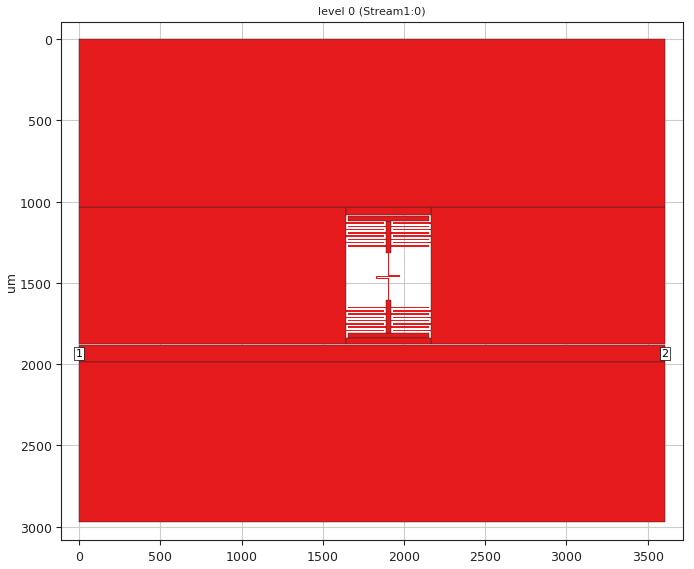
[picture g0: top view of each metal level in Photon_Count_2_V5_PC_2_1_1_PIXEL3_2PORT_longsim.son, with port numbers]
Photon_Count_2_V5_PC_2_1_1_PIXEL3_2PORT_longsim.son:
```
FTYP SONPROJ 19 ! Sonnet Project File
VER 18.56
HEADER
LIC infn2.1.84251
DAT 05/14/2026 11:35:28
BUILT_BY_CREATED gds 18.56 05/07/2026 10:02:26
BUILT_BY_SAVED sonnet 18.56
MDATE 05/07/2026 10:39:49
HDATE 05/07/2026 10:39:49
END HEADER
DIM
ANG DEG
CAP PF
CON /OH
FREQ GHZ
IND NH
LNG UM
RES OH
END DIM
CONTROL
VARSWP
OPTIONS  -d
SPEED 0
CACHE_ABS 2
Q_ACC N
END CONTROL
GEO
TMET "Lossless" 0 SUP 0 0 0 0
BMET "Lossless" 0 SUP 0 0 0 0
MET "TiN" 1 SUP 0 0 0 "Lk"
BOX 1 3607.5 2975 2886 2380 20 0
      1000 1 1 0 0 0 0 "Vacuum"
      500 11.9 1 0.004 0 0.00044 0 "Silicon (intrinsic)"
TECHLAY METAL Stream1:0 <UNSPECIFIED> 1 0 
0 0 0 N 509 1 1 100 100 0 0 0 Y
END
END
VALVAR Lk NONE 0 ""
DIM STD YDIR 1
POS -171.4986901 13.02083716
NOM 5
REF1 POLY 400 1
0
REF2 POLY 404 1
1
END
DIM STD YDIR 1
POS 231.8783895 49.13912308
NOM 5
REF1 POLY 402 1
3
REF2 POLY 404 1
2
END
DIM STD YDIR 1
POS -300.5580574 208.0684127
NOM 102.5
REF1 POLY 404 1
1
REF2 POLY 404 1
0
END
DIM STD YDIR 1
POS -169.8242802 71.21227954
NOM 5
REF1 POLY 404 1
0
REF2 POLY 456 1
1
END
DIM STD YDIR 1
POS 233.7484176 1.766262075
NOM 5
REF1 POLY 404 1
3
REF2 POLY 456 1
2
END
LORGN 0 2975 U 
POR1 BOX
POLY 404 1
0
1 50 0 0 0 0 1933.75 
POR1 BOX
POLY 404 1
2
2 50 0 0 0 3607.5 1933.75 
NUM 51
0 5 0 N 381 1 1 100 100 0 0 0 Y
TLAYNAM Stream1:0 INH
1645 1217.5
1645 1207.5
1880 1207.5
1880 1217.5
1645 1217.5
END
0 5 0 N 382 1 1 100 100 0 0 0 Y
TLAYNAM Stream1:0 INH
1655 1277.5
1655 1267.5
1890 1267.5
1890 1277.5
1655 1277.5
END
0 5 0 N 383 1 1 100 100 0 0 0 Y
TLAYNAM Stream1:0 INH
1920 1237.5
1920 1227.5
2155 1227.5
2155 1237.5
1920 1237.5
END
0 5 0 N 384 1 1 100 100 0 0 0 Y
TLAYNAM Stream1:0 INH
1930 1257.5
1930 1247.5
2165 1247.5
2165 1257.5
1930 1257.5
END
0 5 0 N 385 1 1 100 100 0 0 0 Y
TLAYNAM Stream1:0 INH
1645 1137.5
1645 1127.5
1880 1127.5
1880 1137.5
1645 1137.5
END
0 5 0 N 386 1 1 100 100 0 0 0 Y
TLAYNAM Stream1:0 INH
1655 1197.5
1655 1187.5
1890 1187.5
1890 1197.5
1655 1197.5
END
0 5 0 N 387 1 1 100 100 0 0 0 Y
TLAYNAM Stream1:0 INH
1655 1697.5
1655 1687.5
1890 1687.5
1890 1697.5
1655 1697.5
END
0 5 0 N 388 1 1 100 100 0 0 0 Y
TLAYNAM Stream1:0 INH
1972.5 1460
1972.5 1455
1977.5 1455
1977.5 1460
1972.5 1460
END
0 5 0 N 389 1 1 100 100 0 0 0 Y
TLAYNAM Stream1:0 INH
1645 1177.5
1645 1167.5
1880 1167.5
1880 1177.5
1645 1177.5
END
0 5 0 N 390 1 1 100 100 0 0 0 Y
TLAYNAM Stream1:0 INH
1930 1137.5
1930 1127.5
2165 1127.5
2165 1137.5
1930 1137.5
END
0 5 0 N 391 1 1 100 100 0 0 0 Y
TLAYNAM Stream1:0 INH
1930 1677.5
1930 1667.5
2165 1667.5
2165 1677.5
1930 1677.5
END
0 5 0 N 392 1 1 100 100 0 0 0 Y
TLAYNAM Stream1:0 INH
1645 1757.5
1645 1747.5
1880 1747.5
1880 1757.5
1645 1757.5
END
0 5 0 N 393 1 1 100 100 0 0 0 Y
TLAYNAM Stream1:0 INH
1930 1177.5
1930 1167.5
2165 1167.5
2165 1177.5
1930 1177.5
END
0 5 0 N 394 1 1 100 100 0 0 0 Y
TLAYNAM Stream1:0 INH
1902.5 1455
1902.5 1450
1977.5 1450
1977.5 1455
1902.5 1455
END
0 5 0 N 395 1 1 100 100 0 0 0 Y
TLAYNAM Stream1:0 INH
1655 1837.5
1655 1807.5
2155 1807.5
2155 1837.5
1655 1837.5
END
0 5 0 N 396 1 1 100 100 0 0 0 Y
TLAYNAM Stream1:0 INH
1645 1677.5
1645 1667.5
1880 1667.5
1880 1677.5
1645 1677.5
END
0 5 0 N 397 1 1 100 100 0 0 0 Y
TLAYNAM Stream1:0 INH
1645 1717.5
1645 1707.5
1880 1707.5
1880 1717.5
1645 1717.5
END
0 5 0 N 398 1 1 100 100 0 0 0 Y
TLAYNAM Stream1:0 INH
1930 1757.5
1930 1747.5
2165 1747.5
2165 1757.5
1930 1757.5
END
0 5 0 N 399 1 1 100 100 0 0 0 Y
TLAYNAM Stream1:0 INH
1655 1777.5
1655 1767.5
1890 1767.5
1890 1777.5
1655 1777.5
END
0 5 0 N 400 1 1 100 100 0 0 0 Y
TLAYNAM Stream1:0 INH
0 1877.5
0 1032.5
1645 1032.5
1645 1877.5
0 1877.5
END
0 5 0 N 401 1 1 100 100 0 0 0 Y
TLAYNAM Stream1:0 INH
1930 1217.5
1930 1207.5
2165 1207.5
2165 1217.5
1930 1217.5
END
0 5 0 N 402 1 1 100 100 0 0 0 Y
TLAYNAM Stream1:0 INH
2165 1877.5
2165 1032.5
3607.5 1032.5
3607.5 1877.5
2165 1877.5
END
0 5 0 N 403 1 1 100 100 0 0 0 Y
TLAYNAM Stream1:0 INH
1645 1082.5
1645 1032.5
2165 1032.5
2165 1082.5
1645 1082.5
END
0 5 0 N 404 1 1 100 100 0 0 0 Y
TLAYNAM Stream1:0 INH
0 1985
0 1882.5
3607.5 1882.5
3607.5 1985
0 1985
END
0 5 0 N 405 1 1 100 100 0 0 0 Y
TLAYNAM Stream1:0 INH
1920 1657.5
1920 1647.5
2155 1647.5
2155 1657.5
1920 1657.5
END
0 5 0 N 406 1 1 100 100 0 0 0 Y
TLAYNAM Stream1:0 INH
1827.5 1475
1827.5 1470
1902.5 1470
1902.5 1475
1827.5 1475
END
0 5 0 N 407 1 1 100 100 0 0 0 Y
TLAYNAM Stream1:0 INH
1655 1157.5
1655 1147.5
1890 1147.5
1890 1157.5
1655 1157.5
END
0 5 0 N 408 1 1 100 100 0 0 0 Y
TLAYNAM Stream1:0 INH
0 1032.5
0 0
3607.5 0
3607.5 1032.5
0 1032.5
END
0 5 0 N 409 1 1 100 100 0 0 0 Y
TLAYNAM Stream1:0 INH
1920 1157.5
1920 1147.5
2155 1147.5
2155 1157.5
1920 1157.5
END
0 5 0 N 410 1 1 100 100 0 0 0 Y
TLAYNAM Stream1:0 INH
1827.5 1470
1827.5 1465
1832.5 1465
1832.5 1470
1827.5 1470
END
0 5 0 N 411 1 1 100 100 0 0 0 Y
TLAYNAM Stream1:0 INH
1920 1777.5
1920 1767.5
2155 1767.5
2155 1777.5
1920 1777.5
END
0 5 0 N 412 1 1 100 100 0 0 0 Y
TLAYNAM Stream1:0 INH
1645 1797.5
1645 1787.5
1880 1787.5
1880 1797.5
1645 1797.5
END
0 5 0 N 413 1 1 100 100 0 0 0 Y
TLAYNAM Stream1:0 INH
1655 1237.5
1655 1227.5
1890 1227.5
1890 1237.5
1655 1237.5
END
0 5 0 N 414 1 1 100 100 0 0 0 Y
TLAYNAM Stream1:0 INH
1902.5 1450
1902.5 1317.5
1907.5 1317.5
1907.5 1450
1902.5 1450
END
0 5 0 N 415 1 1 100 100 0 0 0 Y
TLAYNAM Stream1:0 INH
1920 1737.5
1920 1727.5
2155 1727.5
2155 1737.5
1920 1737.5
END
0 5 0 N 416 1 1 100 100 0 0 0 Y
TLAYNAM Stream1:0 INH
1930 1797.5
1930 1787.5
2165 1787.5
2165 1797.5
1930 1797.5
END
0 5 0 N 417 1 1 100 100 0 0 0 Y
TLAYNAM Stream1:0 INH
1902.5 1607.5
1902.5 1470
1907.5 1470
1907.5 1607.5
1902.5 1607.5
END
0 5 0 N 418 1 1 100 100 0 0 0 Y
TLAYNAM Stream1:0 INH
1655 1657.5
1655 1647.5
1890 1647.5
1890 1657.5
1655 1657.5
END
0 5 0 N 419 1 1 100 100 0 0 0 Y
TLAYNAM Stream1:0 INH
1920 1197.5
1920 1187.5
2155 1187.5
2155 1197.5
1920 1197.5
END
0 5 0 N 420 1 1 100 100 0 0 0 Y
TLAYNAM Stream1:0 INH
1655 1737.5
1655 1727.5
1890 1727.5
1890 1737.5
1655 1737.5
END
0 5 0 N 421 1 1 100 100 0 0 0 Y
TLAYNAM Stream1:0 INH
1920 1697.5
1920 1687.5
2155 1687.5
2155 1697.5
1920 1697.5
END
0 5 0 N 423 1 1 100 100 0 0 0 Y
TLAYNAM Stream1:0 INH
1890 1317.5
1890 1117.5
1920 1117.5
1920 1317.5
1890 1317.5
END
0 5 0 N 424 1 1 100 100 0 0 0 Y
TLAYNAM Stream1:0 INH
1655 1117.5
1655 1087.5
2155 1087.5
2155 1117.5
1655 1117.5
END
0 5 0 N 425 1 1 100 100 0 0 0 Y
TLAYNAM Stream1:0 INH
1890 1807.5
1890 1607.5
1920 1607.5
1920 1807.5
1890 1807.5
END
0 5 0 N 426 1 1 100 100 0 0 0 Y
TLAYNAM Stream1:0 INH
1930 1717.5
1930 1707.5
2165 1707.5
2165 1717.5
1930 1717.5
END
0 5 0 N 427 1 1 100 100 0 0 0 Y
TLAYNAM Stream1:0 INH
1645 1877.5
1645 1842.5
2165 1842.5
2165 1877.5
1645 1877.5
END
0 5 0 N 428 1 1 100 100 0 0 0 Y
TLAYNAM Stream1:0 INH
1645 1257.5
1645 1247.5
1880 1247.5
1880 1257.5
1645 1257.5
END
0 5 0 N 429 1 1 100 100 0 0 0 Y
TLAYNAM Stream1:0 INH
1920 1277.5
1920 1267.5
2155 1267.5
2155 1277.5
1920 1277.5
END
0 5 0 N 456 1 1 100 100 0 0 0 Y
TLAYNAM Stream1:0 INH
0 2975
0 1990
3607.5 1990
3607.5 2975
0 2975
END
0 5 0 N 498 1 1 100 100 0 0 0 Y
TLAYNAM Stream1:0 INH
1977.5 1460
1905 1460
1905 1465
1977.5 1465
1977.5 1460
END
0 5 0 N 499 1 1 100 100 0 0 0 Y
TLAYNAM Stream1:0 INH
1905 1460
1827.5 1460
1827.5 1465
1905 1465
1905 1460
END
END GEO
OPT
MAX 100
END OPT
VARSWP
SWPVARS ON
ENABLED Y
FREQ Y AY ABS_ENTRY 7.0 17.0 -1 300 
VAR Lk Y 1.0 12.0 1.0
END
END VARSWP
```
